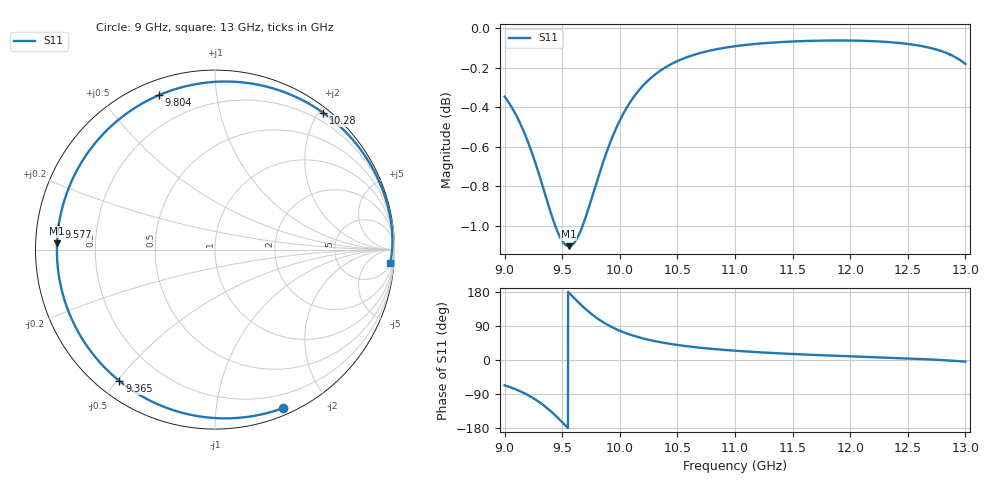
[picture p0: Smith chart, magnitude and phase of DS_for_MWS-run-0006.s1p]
! TOUCHSTONE file generated by CST DESIGN STUDIO
! Date and time: Tue Feb  4 13:34:38 2025
! Project name: C:\Work\MatlabApps\UnitCellOptimizationMatlab\CST\unitcell.cst
! Tree item: Tasks\Sweep1\SPara1\S-Parameters
! Header version: 2024
! Port assignment regex: !\s*Touchstone port\s*([0-9]+)\s*=\s*(CST MWS port|CST DES external port|CST DES block port)\s*(.+)\s* \(\"(.*)\"\)(\s*mode\s*([0-9]+))?.*
! Touchstone port assignment:
! Touchstone port 1 = CST DES external port 1 ("")
# GHz S MA R 50
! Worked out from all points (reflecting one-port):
!   4001 points, 9 GHz to 13 GHz, reference 50 ohm
!   lowest |S11| = -1.1 dB at 9.558 GHz (marker M1), VSWR 15.78, Z = 3.17 + j0.977 ohm
!   phase of S11 starts at -67 deg and turns -298 deg over the sweep
!   S11 on the Smith chart (normalised r, x): 9 GHz: 0.07, -1.52; 9.365 GHz: 0.06, -0.51; 9.577 GHz: 0.06, +0.07; 9.804 GHz: 0.07, +0.70; 10.28 GHz: 0.08, +2.07; 13 GHz: 7, -24
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9  0.9609 -66.8
9.04  0.9572 -70.9
9.105  0.9499 -78.5
9.217  0.9336 -95.1
9.295  0.9192 -109.9
9.365  0.9051 -126.0
9.43  0.8929 -143.3
9.5  0.8835 -164.1
9.558  0.8808 177.8
9.577  0.8811 171.8
9.632  0.8851 154.8
9.695  0.8943 136.7
9.749  0.9044 122.7
9.804  0.9152 110.1
9.846  0.9233 101.5
9.892  0.9315 93.2
10  0.9476 77.2
10.129  0.9614 63.2
10.277  0.9718 51.6
10.382  0.9768 45.3
10.5  0.981 39.7
10.721  0.986 31.6
11  0.9895 24.5
11.5  0.9922 15.9
12  0.9928 9.7
12.5  0.9908 4.0
12.783  0.9869 0.1
13  0.9793 -4.4
